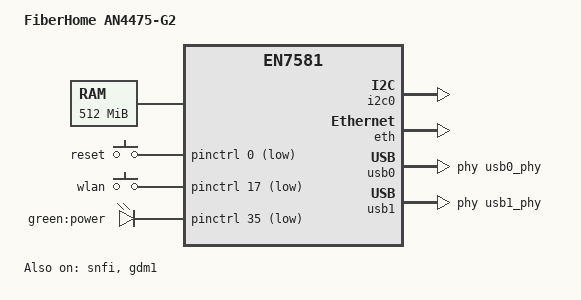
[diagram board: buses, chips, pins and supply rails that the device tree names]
// SPDX-License-Identifier: (GPL-2.0-only OR BSD-2-Clause)
/*
 * FiberHome AN4475-G2 - U-Boot board DTS (uboot-airoha-mediatek v2026.10).
 *
 * Hardware evidence: vendor TTL boot log (2026-11-10) plus live telnet
 * probing. AN7581, 512 MiB PCDDR4-2666, S35ML04G3 512 MiB SPI-NAND,
 * 4x GE + 1x 2.5G combo + downstream 2.5G Rb GPON, 2x2 Wi-Fi 7.
 *
 * The stock flash is SPI-NAND driven by the SNFI engine, so &nand keeps
 * its default disabled state from an7581.dtsi: both nodes drive the same
 * NFI block and only one of them may be enabled.
 *
 * The UBI "factory" volume is 2 MiB (AN4-2MiB container from
 * qwe-qaq/AN75XX-factory), NOT the 1 MiB used by the H3C / HG5585F
 * boards. U-Boot reads the label MAC at container offset 0x40.
 */
/dts-v1/;

#include <dt-bindings/input/input.h>
#include <dt-bindings/gpio/gpio.h>
#include "an7581.dtsi"

/ {
	model = "FiberHome AN4475-G2";
	compatible = "fiberhome,an4475-g2",
		     "airoha,an7581",
		     "airoha,en7581";

	aliases {
		serial0 = &uart1;
	};

	chosen {
		stdout-path = "serial0:115200n8";
		linux,usable-memory-range = <0x0 0x80200000 0x0 0x1fe00000>;
	};

	memory@80000000 {
		device_type = "memory";
		reg = <0x0 0x80000000 0x0 0x20000000>;
	};

	keys {
		compatible = "gpio-keys";

		/* BSP IN_SYS_RESET=0; vendor FDT gpio-keys-polled GPIO0 low. */
		reset {
			label = "reset";
			linux,code = <KEY_RESTART>;
			gpios = <&pinctrl 0 GPIO_ACTIVE_LOW>;
			debounce-interval = <60>;
		};

		/*
		 * BSP IN_WIFI_SET=17 (IN_WPS_SET=-1), verified idle-high.
		 * U-Boot's failsafe only uses "reset"; this node keeps the
		 * U-Boot DT in sync with the Linux DTS. If initr_dm() reports
		 * a gpio-keys error on this board, comment it out - the
		 * HG5585F board had to disable its extra keys for that reason.
		 */
		wlan {
			label = "wlan";
			linux,code = <KEY_WLAN>;
			gpios = <&pinctrl 17 GPIO_ACTIVE_LOW>;
			debounce-interval = <60>;
		};
	};

	leds {
		compatible = "gpio-leds";

		/* "Power LED GPIO 35" (U-Boot) / "pwr_led GPIO: 35" (kernel),
		 * power_gpio=23 hex, BSP OUT_POWER_LED=35, active low. */
		led-0 {
			label = "green:power";
			gpios = <&pinctrl 35 GPIO_ACTIVE_LOW>;
		};

		/*
		 * No other GPIO LEDs: the system / VPN / optical / LOS /
		 * downstream-PON / WLAN panel LEDs are all -1 in the BSP
		 * GPIO table and are not SoC-GPIO driven. The PON LED is a
		 * PWM LED in the Linux DTS, which U-Boot cannot drive.
		 * The failsafe env therefore only uses green:power.
		 */
	};
};

&snfi {
	status = "okay";
};

&spi_nand {
	partitions {
		compatible = "fixed-partitions";
		#address-cells = <1>;
		#size-cells = <1>;

		/* BootROM reads the BL2 FIP at offset 0x800 of the first PEB. */
		partition@0 {
			label = "bl2";
			reg = <0x0 0x20000>;
		};

		/* UBI manages every eraseblock after BL2. Size 0 = to end of
		 * flash (same convention as the other AN7581 UBI boards).
		 * The Linux/PonWrt DTS stops at 0x1d800000 to leave the
		 * vendor BMT/BBT area alone; both start at 0x20000. */
		partition@20000 {
			label = "ubi";
			reg = <0x20000 0x000000>;
		};
	};
};

/* Uplink BOSA UX3363 @ I2C 0x51, downstream UX3326S1 @ 0x63. */
&i2c0 {
	status = "okay";
};

&eth {
	status = "okay";
};

&gdm1 {
	status = "okay";
};

/* Both xHCI controllers are registered by the vendor firmware, USB2 only
 * ("usb serdes is not USB, don't init u3"): USB1 SerDes is muxed to the
 * downstream FTTR HSGMII link. */
&usb0 {
	status = "okay";

	phys = <&usb0_phy PHY_TYPE_USB2>;
	mediatek,u3p-dis-msk = <0x1>;
};

&usb1 {
	status = "okay";

	phys = <&usb1_phy PHY_TYPE_USB2>;
	mediatek,u3p-dis-msk = <0x1>;
};
